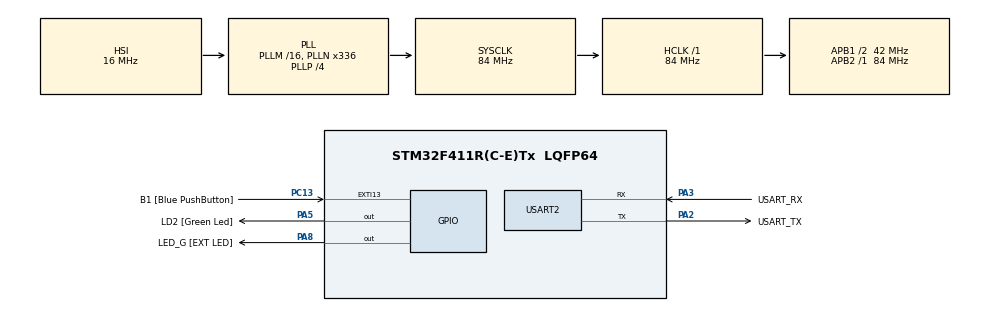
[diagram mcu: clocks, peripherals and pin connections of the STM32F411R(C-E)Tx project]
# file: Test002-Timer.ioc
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Mcu.Family=STM32F4
Mcu.Name=STM32F411R(C-E)Tx
Mcu.Package=LQFP64
NVIC.EXTI15_10_IRQn=true\:0\:0\:false\:false\:true\:true\:true\:true
NVIC.PriorityGroup=NVIC_PRIORITYGROUP_0
NVIC.TIM2_IRQn=true\:0\:0\:false\:false\:true\:true\:true\:true
NVIC.TIM3_IRQn=true\:0\:0\:false\:false\:true\:true\:true\:true
PA13.GPIO_Label=TMS
PA13.Mode=Serial_Wire
PA13.Signal=SYS_JTMS-SWDIO
PA14.GPIO_Label=TCK
PA14.Mode=Serial_Wire
PA14.Signal=SYS_JTCK-SWCLK
PA2.GPIO_Label=USART_TX
PA2.Mode=Asynchronous
PA2.Signal=USART2_TX
PA3.GPIO_Label=USART_RX
PA3.Mode=Asynchronous
PA3.Signal=USART2_RX
PA5.GPIO_Label=LD2 [Green Led]
PA5.Signal=GPIO_Output
PA8.GPIO_Label=LED_G [EXT LED]
PA8.Signal=GPIO_Output
PB3.GPIO_Label=SWO
PB3.Signal=SYS_JTDO-SWO
PC13-ANTI_TAMP.GPIO_Label=B1 [Blue PushButton]
PC13-ANTI_TAMP.GPIO_ModeDefaultEXTI=GPIO_MODE_IT_FALLING
PC13-ANTI_TAMP.Signal=GPXTI13
PC14-OSC32_IN.Mode=LSE-External-Oscillator
PC14-OSC32_IN.Signal=RCC_OSC32_IN
PC15-OSC32_OUT.Mode=LSE-External-Oscillator
PC15-OSC32_OUT.Signal=RCC_OSC32_OUT
PH0\ -\ OSC_IN.Mode=HSE-External-Clock-Source
PH0\ -\ OSC_IN.Signal=RCC_OSC_IN
PH1\ -\ OSC_OUT.Mode=HSE-External-Clock-Source
PH1\ -\ OSC_OUT.Signal=RCC_OSC_OUT
ProjectManager.HeapSize=0x200
ProjectManager.StackSize=0x400
ProjectManager.TargetToolchain=STM32CubeIDE
RCC.48MHZClocksFreq_Value=84000000
RCC.AHBFreq_Value=84000000
RCC.APB1CLKDivider=RCC_HCLK_DIV2
RCC.APB1Freq_Value=42000000
RCC.APB1TimFreq_Value=84000000
RCC.APB2Freq_Value=84000000
RCC.APB2TimFreq_Value=84000000
RCC.CortexFreq_Value=84000000
RCC.FLatency-AdvancedSettings=FLASH_LATENCY_2
RCC.HCLKFreq_Value=84000000
RCC.HSE_VALUE=8000000
RCC.HSI_VALUE=16000000
RCC.PLLN=336
RCC.PLLP=RCC_PLLP_DIV4
RCC.SYSCLKFreq_VALUE=84000000
RCC.SYSCLKSource=RCC_SYSCLKSOURCE_PLLCLK
RCC.VCOOutputFreq_Value=336000000
TIM2.Period=9999
TIM2.Prescaler=8399
TIM3.Period=9999
TIM3.Prescaler=8399
USART2.VirtualMode=VM_ASYNC
VP_TIM2_VS_ClockSourceINT.Mode=Internal
VP_TIM3_VS_ClockSourceINT.Mode=Internal
board=NUCLEO-F411RE

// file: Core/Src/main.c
/* USER CODE BEGIN Header */
/**
  ******************************************************************************
  * @file           : main.c
  * @brief          : Main program body
  ******************************************************************************
  * @attention
  *
  * Copyright (c) 2024 STMicroelectronics.
  * All rights reserved.
  *
  * This software is licensed under terms that can be found in the LICENSE file
  * in the root directory of this software component.
  * If no LICENSE file comes with this software, it is provided AS-IS.
  *
  ******************************************************************************
  */
/* USER CODE END Header */
#include "main.h"

TIM_HandleTypeDef htim2;
TIM_HandleTypeDef htim3;

UART_HandleTypeDef huart2;

void SystemClock_Config(void);
static void MX_GPIO_Init(void);
static void MX_USART2_UART_Init(void);
static void MX_TIM3_Init(void);
static void MX_TIM2_Init(void);

/* USER CODE BEGIN 0 */
int flash_speed = 2;
void HAL_TIM_PeriodElapsedCallback(TIM_HandleTypeDef *htim) {
	if(htim == &htim3) {
		HAL_GPIO_TogglePin(LD2_GPIO_Port, LD2_Pin);
	}
	else if(htim == &htim2) {
		HAL_GPIO_TogglePin(LED_G_GPIO_Port, LED_G_Pin);
	}
}
void HAL_GPIO_EXTI_Callback(uint16_t GPIO_Pin) {
	switch(GPIO_Pin) {
	case B1_Pin:
		htim3.Instance->ARR = (flash_speed * 1111) + 1;
		flash_speed += 1;
		if(flash_speed > 9) {
			flash_speed = 2;
		}
		break;
	}
}
/* USER CODE END 0 */

int main(void)
{

  /* MCU Configuration--------------------------------------------------------*/

  /* Reset of all peripherals, Initializes the Flash interface and the Systick. */
  HAL_Init();

  /* Configure the system clock */
  SystemClock_Config();

  /* Initialize all configured peripherals */
  MX_GPIO_Init();
  MX_USART2_UART_Init();
  MX_TIM3_Init();
  MX_TIM2_Init();
  /* USER CODE BEGIN 2 */
  HAL_TIM_Base_Start_IT(&htim3);
  HAL_TIM_Base_Start_IT(&htim2);
  /* USER CODE END 2 */

  /* Infinite loop */
  while (1)
  {

    /* USER CODE BEGIN 3 */
	  /*
	  for(int i = 0; i < 10; i++) {

		  HAL_Delay(2000);
	  }
	  */
  }
  /* USER CODE END 3 */
}

void SystemClock_Config(void)
{
  RCC_OscInitTypeDef RCC_OscInitStruct = {0};
  RCC_ClkInitTypeDef RCC_ClkInitStruct = {0};

  /** Configure the main internal regulator output voltage
  */
  __HAL_RCC_PWR_CLK_ENABLE();
  __HAL_PWR_VOLTAGESCALING_CONFIG(PWR_REGULATOR_VOLTAGE_SCALE1);

  /** Initializes the RCC Oscillators according to the specified parameters
  * in the RCC_OscInitTypeDef structure.
  */
  RCC_OscInitStruct.OscillatorType = RCC_OSCILLATORTYPE_HSI;
  RCC_OscInitStruct.HSIState = RCC_HSI_ON;
  RCC_OscInitStruct.HSICalibrationValue = RCC_HSICALIBRATION_DEFAULT;
  RCC_OscInitStruct.PLL.PLLState = RCC_PLL_ON;
  RCC_OscInitStruct.PLL.PLLSource = RCC_PLLSOURCE_HSI;
  RCC_OscInitStruct.PLL.PLLM = 16;
  RCC_OscInitStruct.PLL.PLLN = 336;
  RCC_OscInitStruct.PLL.PLLP = RCC_PLLP_DIV4;
  RCC_OscInitStruct.PLL.PLLQ = 4;
  if (HAL_RCC_OscConfig(&RCC_OscInitStruct) != HAL_OK)
  {
    Error_Handler();
  }

  /** Initializes the CPU, AHB and APB buses clocks
  */
  RCC_ClkInitStruct.ClockType = RCC_CLOCKTYPE_HCLK|RCC_CLOCKTYPE_SYSCLK
                              |RCC_CLOCKTYPE_PCLK1|RCC_CLOCKTYPE_PCLK2;
  RCC_ClkInitStruct.SYSCLKSource = RCC_SYSCLKSOURCE_PLLCLK;
  RCC_ClkInitStruct.AHBCLKDivider = RCC_SYSCLK_DIV1;
  RCC_ClkInitStruct.APB1CLKDivider = RCC_HCLK_DIV2;
  RCC_ClkInitStruct.APB2CLKDivider = RCC_HCLK_DIV1;

  if (HAL_RCC_ClockConfig(&RCC_ClkInitStruct, FLASH_LATENCY_2) != HAL_OK)
  {
    Error_Handler();
  }
}

static void MX_TIM2_Init(void)
{

  TIM_ClockConfigTypeDef sClockSourceConfig = {0};
  TIM_MasterConfigTypeDef sMasterConfig = {0};

  htim2.Instance = TIM2;
  htim2.Init.Prescaler = 8399;
  htim2.Init.CounterMode = TIM_COUNTERMODE_UP;
  htim2.Init.Period = 9999;
  htim2.Init.ClockDivision = TIM_CLOCKDIVISION_DIV1;
  htim2.Init.AutoReloadPreload = TIM_AUTORELOAD_PRELOAD_DISABLE;
  if (HAL_TIM_Base_Init(&htim2) != HAL_OK)
  {
    Error_Handler();
  }
  sClockSourceConfig.ClockSource = TIM_CLOCKSOURCE_INTERNAL;
  if (HAL_TIM_ConfigClockSource(&htim2, &sClockSourceConfig) != HAL_OK)
  {
    Error_Handler();
  }
  sMasterConfig.MasterOutputTrigger = TIM_TRGO_RESET;
  sMasterConfig.MasterSlaveMode = TIM_MASTERSLAVEMODE_DISABLE;
  if (HAL_TIMEx_MasterConfigSynchronization(&htim2, &sMasterConfig) != HAL_OK)
  {
    Error_Handler();
  }

}

static void MX_TIM3_Init(void)
{

  TIM_ClockConfigTypeDef sClockSourceConfig = {0};
  TIM_MasterConfigTypeDef sMasterConfig = {0};

  htim3.Instance = TIM3;
  htim3.Init.Prescaler = 8399;
  htim3.Init.CounterMode = TIM_COUNTERMODE_UP;
  htim3.Init.Period = 9999;
  htim3.Init.ClockDivision = TIM_CLOCKDIVISION_DIV1;
  htim3.Init.AutoReloadPreload = TIM_AUTORELOAD_PRELOAD_DISABLE;
  if (HAL_TIM_Base_Init(&htim3) != HAL_OK)
  {
    Error_Handler();
  }
  sClockSourceConfig.ClockSource = TIM_CLOCKSOURCE_INTERNAL;
  if (HAL_TIM_ConfigClockSource(&htim3, &sClockSourceConfig) != HAL_OK)
  {
    Error_Handler();
  }
  sMasterConfig.MasterOutputTrigger = TIM_TRGO_RESET;
  sMasterConfig.MasterSlaveMode = TIM_MASTERSLAVEMODE_DISABLE;
  if (HAL_TIMEx_MasterConfigSynchronization(&htim3, &sMasterConfig) != HAL_OK)
  {
    Error_Handler();
  }

}

static void MX_USART2_UART_Init(void)
{

  huart2.Instance = USART2;
  huart2.Init.BaudRate = 115200;
  huart2.Init.WordLength = UART_WORDLENGTH_8B;
  huart2.Init.StopBits = UART_STOPBITS_1;
  huart2.Init.Parity = UART_PARITY_NONE;
  huart2.Init.Mode = UART_MODE_TX_RX;
  huart2.Init.HwFlowCtl = UART_HWCONTROL_NONE;
  huart2.Init.OverSampling = UART_OVERSAMPLING_16;
  if (HAL_UART_Init(&huart2) != HAL_OK)
  {
    Error_Handler();
  }

}

static void MX_GPIO_Init(void)
{
  GPIO_InitTypeDef GPIO_InitStruct = {0};

  /* GPIO Ports Clock Enable */
  __HAL_RCC_GPIOC_CLK_ENABLE();
  __HAL_RCC_GPIOH_CLK_ENABLE();
  __HAL_RCC_GPIOA_CLK_ENABLE();
  __HAL_RCC_GPIOB_CLK_ENABLE();

  /*Configure GPIO pin Output Level */
  HAL_GPIO_WritePin(GPIOA, LD2_Pin|LED_G_Pin, GPIO_PIN_RESET);

  /*Configure GPIO pin : B1_Pin */
  GPIO_InitStruct.Pin = B1_Pin;
  GPIO_InitStruct.Mode = GPIO_MODE_IT_FALLING;
  GPIO_InitStruct.Pull = GPIO_NOPULL;
  HAL_GPIO_Init(B1_GPIO_Port, &GPIO_InitStruct);

  /*Configure GPIO pins : LD2_Pin LED_G_Pin */
  GPIO_InitStruct.Pin = LD2_Pin|LED_G_Pin;
  GPIO_InitStruct.Mode = GPIO_MODE_OUTPUT_PP;
  GPIO_InitStruct.Pull = GPIO_NOPULL;
  GPIO_InitStruct.Speed = GPIO_SPEED_FREQ_LOW;
  HAL_GPIO_Init(GPIOA, &GPIO_InitStruct);

  /* EXTI interrupt init*/
  HAL_NVIC_SetPriority(EXTI15_10_IRQn, 0, 0);
  HAL_NVIC_EnableIRQ(EXTI15_10_IRQn);

}

void Error_Handler(void)
{
  __disable_irq();
  while (1)
  {
  }
}
